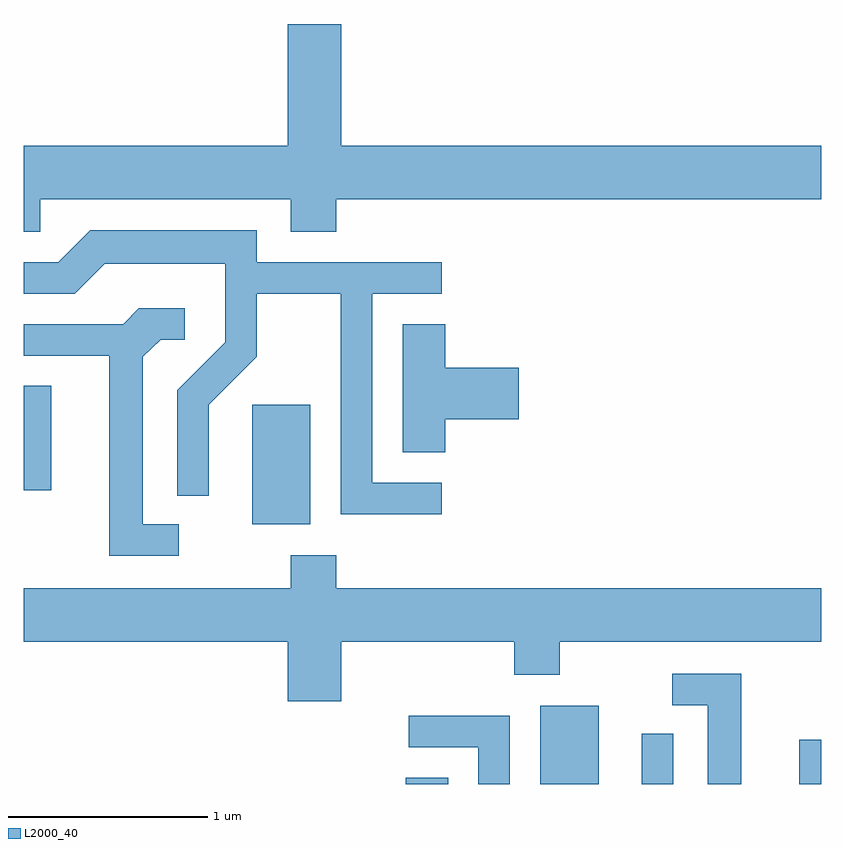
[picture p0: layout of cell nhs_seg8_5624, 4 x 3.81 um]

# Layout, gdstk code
import gdstk
lib = gdstk.Library(unit=1e-6, precision=1e-09)
def R(c, l, rs):  # rectangles x0, y0, x1, y1
    for r in rs: c.add(gdstk.rectangle(r[:2], r[2:], *l))
def P(c, l, *ps):  # polygons
    for p in ps: c.add(gdstk.Polygon(p, *l))
L2000_40 = (2000, 40)

nhs_seg8_5624 = lib.new_cell('nhs_seg8_5624')
R(nhs_seg8_5624, L2000_40, [(355.526,1862.342,355.739,1862.374), (356.201,1862.342,356.494,1862.734), (356.711,1862.342,356.869,1862.593), (357.501,1862.342,357.611,1862.564), (354.756,1863.646,355.049,1864.244), (353.611,1863.816,353.749,1864.339)])
P(nhs_seg8_5624, L2000_40, [(353.694,1865.276),(354.951,1865.276),(354.951,1865.111),(355.179,1865.111),(355.179,1865.276),(357.611,1865.276),(357.611,1865.544),(355.204,1865.544),(355.204,1866.154),(354.936,1866.154),(354.936,1865.544),(353.611,1865.544),(353.611,1865.111),(353.694,1865.111)],
  [(355.708,1863.854),(355.359,1863.854),(355.359,1864.801),(355.708,1864.801),(355.708,1864.959),(354.779,1864.959),(354.779,1865.119),(353.944,1865.119),(353.784,1864.959),(353.611,1864.959),(353.611,1864.801),(353.867,1864.801),(354.017,1864.951),(354.621,1864.951),(354.621,1864.557),(354.381,1864.317),(354.381,1863.788),(354.539,1863.788),(354.539,1864.244),(354.779,1864.484),(354.779,1864.801),(355.201,1864.801),(355.201,1863.696),(355.708,1863.696)],
  [(354.388,1863.644),(354.209,1863.644),(354.209,1864.484),(354.297,1864.571),(354.418,1864.571),(354.418,1864.729),(354.189,1864.729),(354.109,1864.649),(353.611,1864.649),(353.611,1864.491),(354.041,1864.491),(354.041,1863.486),(354.388,1863.486)],
  [(355.724,1864.171),(356.094,1864.171),(356.094,1864.429),(355.724,1864.429),(355.724,1864.649),(355.511,1864.649),(355.511,1864.006),(355.724,1864.006)],
  [(355.204,1863.056),(356.071,1863.056),(356.071,1862.891),(356.299,1862.891),(356.299,1863.056),(357.611,1863.056),(357.611,1863.324),(355.179,1863.324),(355.179,1863.489),(354.951,1863.489),(354.951,1863.324),(353.611,1863.324),(353.611,1863.056),(354.936,1863.056),(354.936,1862.756),(355.204,1862.756)],
  [(357.209,1862.894),(356.863,1862.894),(356.863,1862.736),(357.041,1862.736),(357.041,1862.342),(357.209,1862.342)],
  [(356.049,1862.684),(355.543,1862.684),(355.543,1862.526),(355.891,1862.526),(355.891,1862.342),(356.049,1862.342)])

lib.write_gds('nhs_seg8_5624.gds')
